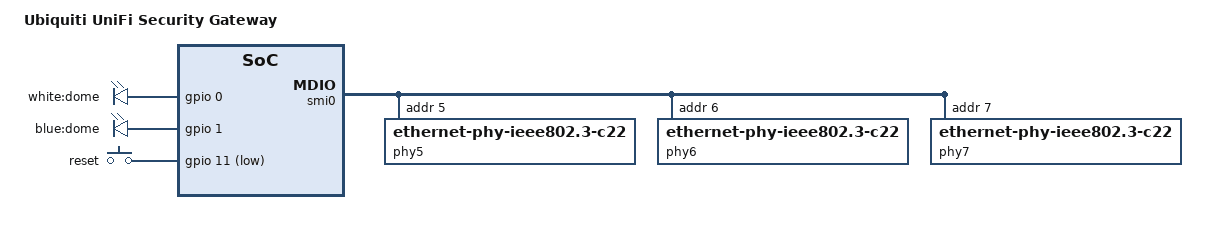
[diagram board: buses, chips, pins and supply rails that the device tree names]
// SPDX-License-Identifier: GPL-2.0-only
/*
 * Device tree source for Ubiquity UniFi Security Gateway.
 *
 * Written for EdgeRouter Lite by: Aaro Koskinen <aaro.koskinen@iki.fi>
 * Adapted for USG by: Clemens Hopfer <openwrt@wireloss.net>
 */

/include/ "octeon_3xxx.dtsi"
#include <dt-bindings/gpio/gpio.h>
#include <dt-bindings/input/input.h>

/ {
	compatible = "ubnt,usg";
	model = "Ubiquiti UniFi Security Gateway";

	soc@0 {
		smi0: mdio@1180000001800 {
			phy5: ethernet-phy@5 {
				reg = <5>;
				compatible = "ethernet-phy-ieee802.3-c22";
			};
			phy6: ethernet-phy@6 {
				reg = <6>;
				compatible = "ethernet-phy-ieee802.3-c22";
			};
			phy7: ethernet-phy@7 {
				reg = <7>;
				compatible = "ethernet-phy-ieee802.3-c22";
			};
		};

		pip: pip@11800a0000000 {
			interface@0 {
				ethernet@0 {
					phy-handle = <&phy7>;
					rx-delay = <0>;
					tx-delay = <0x10>;
				};
				ethernet@1 {
					phy-handle = <&phy6>;
					rx-delay = <0>;
					tx-delay = <0x10>;
				};
				ethernet@2 {
					phy-handle = <&phy5>;
					rx-delay = <0>;
					tx-delay = <0x10>;
				};
			};
		};

		uart0: serial@1180000000800 {
			clock-frequency = <500000000>;
		};

		usbn: usbn@1180068000000 {
			refclk-frequency = <12000000>;
			refclk-type = "crystal";
		};

	};

	leds {
		compatible = "gpio-leds";

		led_dome_white: led-0 {
			label = "white:dome";
			gpios = <&gpio 0 GPIO_ACTIVE_HIGH>;
		};

		led_dome_blue: led-1 {
			label = "blue:dome";
			gpios = <&gpio 1 GPIO_ACTIVE_HIGH>;
		};
	};

	keys {
		compatible = "gpio-keys-polled";
		poll-interval = <20>;

		key-restart {
			label = "reset";
			linux,code = <KEY_RESTART>;
			gpios = <&gpio 11 GPIO_ACTIVE_LOW>;
			debounce-interval = <60>;
		};
	};

	aliases {
		pip = &pip;
		led-boot = &led_dome_white;
		led-failsafe = &led_dome_blue;
		led-running = &led_dome_blue;
		led-upgrade = &led_dome_blue;
	};
};
